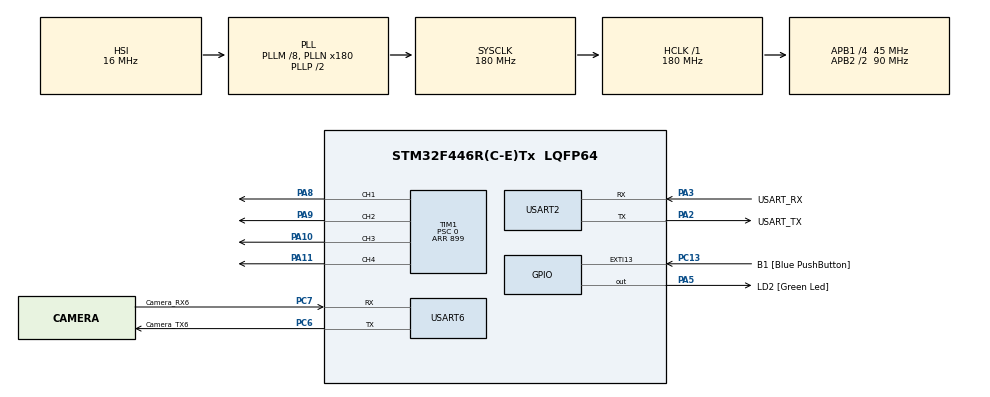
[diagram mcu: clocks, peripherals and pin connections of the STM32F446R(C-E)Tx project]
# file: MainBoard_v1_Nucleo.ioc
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Mcu.Family=STM32F4
Mcu.Name=STM32F446R(C-E)Tx
Mcu.Package=LQFP64
NVIC.PriorityGroup=NVIC_PRIORITYGROUP_0
PA10.Signal=S_TIM1_CH3
PA11.Signal=S_TIM1_CH4
PA13.GPIO_Label=TMS
PA13.Mode=Serial_Wire
PA13.Signal=SYS_JTMS-SWDIO
PA14.GPIO_Label=TCK
PA14.Mode=Serial_Wire
PA14.Signal=SYS_JTCK-SWCLK
PA2.GPIO_Label=USART_TX
PA2.Mode=Asynchronous
PA2.Signal=USART2_TX
PA3.GPIO_Label=USART_RX
PA3.Mode=Asynchronous
PA3.Signal=USART2_RX
PA5.GPIO_Label=LD2 [Green Led]
PA5.Signal=GPIO_Output
PA8.Signal=S_TIM1_CH1
PA9.Signal=S_TIM1_CH2
PB3.GPIO_Label=SWO
PB3.Signal=SYS_JTDO-SWO
PC13.GPIO_Label=B1 [Blue PushButton]
PC13.GPIO_ModeDefaultEXTI=GPIO_MODE_IT_FALLING
PC13.Signal=GPXTI13
PC14-OSC32_IN.Mode=LSE-External-Oscillator
PC14-OSC32_IN.Signal=RCC_OSC32_IN
PC15-OSC32_OUT.Mode=LSE-External-Oscillator
PC15-OSC32_OUT.Signal=RCC_OSC32_OUT
PC6.GPIO_Label=Camera_TX6
PC6.Mode=Asynchronous
PC6.Signal=USART6_TX
PC7.GPIO_Label=Camera_RX6
PC7.Mode=Asynchronous
PC7.Signal=USART6_RX
PH0-OSC_IN.Mode=HSE-External-Oscillator
PH0-OSC_IN.Signal=RCC_OSC_IN
PH1-OSC_OUT.Mode=HSE-External-Oscillator
PH1-OSC_OUT.Signal=RCC_OSC_OUT
ProjectManager.HeapSize=0x200
ProjectManager.StackSize=0x400
ProjectManager.TargetToolchain=STM32CubeIDE
RCC.48MHZClocksFreq_Value=84000000
RCC.AHBFreq_Value=180000000
RCC.APB1CLKDivider=RCC_HCLK_DIV4
RCC.APB1Freq_Value=45000000
RCC.APB1TimFreq_Value=90000000
RCC.APB2CLKDivider=RCC_HCLK_DIV2
RCC.APB2Freq_Value=90000000
RCC.APB2TimFreq_Value=180000000
RCC.CortexFreq_Value=180000000
RCC.FLatency-AdvancedSettings=FLASH_LATENCY_5
RCC.HCLKFreq_Value=180000000
RCC.HSE_VALUE=8000000
RCC.HSI_VALUE=16000000
RCC.PLLM=8
RCC.PLLN=180
RCC.SYSCLKFreq_VALUE=180000000
RCC.SYSCLKSource=RCC_SYSCLKSOURCE_PLLCLK
RCC.USBFreq_Value=180000000
RCC.VCOOutputFreq_Value=360000000
SH.S_TIM1_CH1.0=TIM1_CH1,PWM Generation1 CH1
SH.S_TIM1_CH2.0=TIM1_CH2,PWM Generation2 CH2
SH.S_TIM1_CH3.0=TIM1_CH3,PWM Generation3 CH3
SH.S_TIM1_CH4.0=TIM1_CH4,PWM Generation4 CH4
TIM1.Channel-PWM\ Generation1\ CH1=TIM_CHANNEL_1
TIM1.Channel-PWM\ Generation2\ CH2=TIM_CHANNEL_2
TIM1.Channel-PWM\ Generation3\ CH3=TIM_CHANNEL_3
TIM1.Channel-PWM\ Generation4\ CH4=TIM_CHANNEL_4
TIM1.Period=899
TIM1.Prescaler=0
USART2.VirtualMode=VM_ASYNC
USART6.VirtualMode=VM_ASYNC
board=NUCLEO-F446RE

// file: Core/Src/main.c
/* USER CODE BEGIN Header */
/**
  ******************************************************************************
  * @file           : main.c
  * @brief          : Main program body
  ******************************************************************************
  * @attention
  *
  * Copyright (c) 2023 STMicroelectronics.
  * All rights reserved.
  *
  * This software is licensed under terms that can be found in the LICENSE file
  * in the root directory of this software component.
  * If no LICENSE file comes with this software, it is provided AS-IS.
  *
  ******************************************************************************
  */
/* USER CODE END Header */
#include "main.h"
#include "tim.h"
#include "usart.h"
#include "gpio.h"

/* USER CODE BEGIN Includes */
#include <math.h>

/* USER CODE END Includes */

/* USER CODE BEGIN PTD */
#define deg_to_rad(deg) (((deg) / 360) * 2 * M_PI)
#define rad_to_deg(rad) (((rad) / 2 / M_PI) * 360)
int stopDuty = 899/2;
/* USER CODE END PTD */

/* USER CODE BEGIN PD */
void motor(int angle);
void roll(int motor, float duty);
int MotorTIM[4] = {
		TIM_CHANNEL_1,
		TIM_CHANNEL_2,
		TIM_CHANNEL_3,
		TIM_CHANNEL_4,
};
const int MotorTF[4] = {
		1, -1, 1, -1
};
float MPowerVector[4] = {0};
const int _motorAngles[4] = {45, 135, 225, 315};
float tmp[4];
float tmp_1[4];
/* USER CODE END PD */

void SystemClock_Config(void);

int main(void)
{

  /* MCU Configuration--------------------------------------------------------*/

  /* Reset of all peripherals, Initializes the Flash interface and the Systick. */
  HAL_Init();

  /* Configure the system clock */
  SystemClock_Config();

  /* Initialize all configured peripherals */
  MX_GPIO_Init();
  MX_USART2_UART_Init();
  MX_USART6_UART_Init();
  MX_TIM1_Init();
  /* USER CODE BEGIN 2 */
  // PA11 緑 PWM1
  // PA10 オレンジ PWM3
  // PA9 黄 PWM4
  // PA8 赤 PWM2
  if (HAL_TIM_PWM_Start(&htim1, TIM_CHANNEL_1) != HAL_OK){
        Error_Handler();
  }
  if (HAL_TIM_PWM_Start(&htim1, TIM_CHANNEL_2) != HAL_OK){
        Error_Handler();
  }
  if (HAL_TIM_PWM_Start(&htim1, TIM_CHANNEL_3) != HAL_OK){
        Error_Handler();
  }
  if (HAL_TIM_PWM_Start(&htim1, TIM_CHANNEL_4) != HAL_OK){
        Error_Handler();
  }
  __HAL_TIM_SET_COMPARE(&htim1, TIM_CHANNEL_1, stopDuty);
  __HAL_TIM_SET_COMPARE(&htim1, TIM_CHANNEL_2, stopDuty);
  __HAL_TIM_SET_COMPARE(&htim1, TIM_CHANNEL_3, stopDuty);
  __HAL_TIM_SET_COMPARE(&htim1, TIM_CHANNEL_4, stopDuty);
  /* USER CODE END 2 */

  /* Infinite loop */
  /* USER CODE BEGIN WHILE */
  while (1)
  {
//	  roll(TIM_CHANNEL_1,0.2);
//	  roll(TIM_CHANNEL_2,0.2);
//	  roll(TIM_CHANNEL_3,-0.2);
//	  roll(TIM_CHANNEL_4,-0.2);
	  motor(90);
    /* USER CODE END WHILE */

  }
}

void SystemClock_Config(void)
{
  RCC_OscInitTypeDef RCC_OscInitStruct = {0};
  RCC_ClkInitTypeDef RCC_ClkInitStruct = {0};

  /** Configure the main internal regulator output voltage
  */
  __HAL_RCC_PWR_CLK_ENABLE();
  __HAL_PWR_VOLTAGESCALING_CONFIG(PWR_REGULATOR_VOLTAGE_SCALE1);

  /** Initializes the RCC Oscillators according to the specified parameters
  * in the RCC_OscInitTypeDef structure.
  */
  RCC_OscInitStruct.OscillatorType = RCC_OSCILLATORTYPE_HSI;
  RCC_OscInitStruct.HSIState = RCC_HSI_ON;
  RCC_OscInitStruct.HSICalibrationValue = RCC_HSICALIBRATION_DEFAULT;
  RCC_OscInitStruct.PLL.PLLState = RCC_PLL_ON;
  RCC_OscInitStruct.PLL.PLLSource = RCC_PLLSOURCE_HSI;
  RCC_OscInitStruct.PLL.PLLM = 8;
  RCC_OscInitStruct.PLL.PLLN = 180;
  RCC_OscInitStruct.PLL.PLLP = RCC_PLLP_DIV2;
  RCC_OscInitStruct.PLL.PLLQ = 2;
  RCC_OscInitStruct.PLL.PLLR = 2;
  if (HAL_RCC_OscConfig(&RCC_OscInitStruct) != HAL_OK)
  {
    Error_Handler();
  }

  /** Activate the Over-Drive mode
  */
  if (HAL_PWREx_EnableOverDrive() != HAL_OK)
  {
    Error_Handler();
  }

  /** Initializes the CPU, AHB and APB buses clocks
  */
  RCC_ClkInitStruct.ClockType = RCC_CLOCKTYPE_HCLK|RCC_CLOCKTYPE_SYSCLK
                              |RCC_CLOCKTYPE_PCLK1|RCC_CLOCKTYPE_PCLK2;
  RCC_ClkInitStruct.SYSCLKSource = RCC_SYSCLKSOURCE_PLLCLK;
  RCC_ClkInitStruct.AHBCLKDivider = RCC_SYSCLK_DIV1;
  RCC_ClkInitStruct.APB1CLKDivider = RCC_HCLK_DIV4;
  RCC_ClkInitStruct.APB2CLKDivider = RCC_HCLK_DIV2;

  if (HAL_RCC_ClockConfig(&RCC_ClkInitStruct, FLASH_LATENCY_5) != HAL_OK)
  {
    Error_Handler();
  }
}

/* USER CODE BEGIN 4 */
void motor(int angle) {
    angle = 450 - angle;
    while (angle > 359)
        angle -= 360;
    while (angle < 0)
        angle += 360;
    for (int i = 0; i < 4; i++) {
    	tmp_1[i] = angle - _motorAngles[i];
    	tmp[i] = deg_to_rad(tmp_1[i]);
        MPowerVector[i] = sin(tmp[i]) * MotorTF[i];
    }
    for(int i = 0; i < 4; i++) {
    	roll(MotorTIM[i], MPowerVector[i]);
    }
}

void roll(int motor, float duty) {
	const float speed_fix = 0.2;
	duty *= speed_fix;
	duty += 1.0;
	duty *= stopDuty;
	__HAL_TIM_SET_COMPARE(&htim1, motor, (int)duty);
}
/* USER CODE END 4 */

void Error_Handler(void)
{
  __disable_irq();
  while (1)
  {
  }
}
